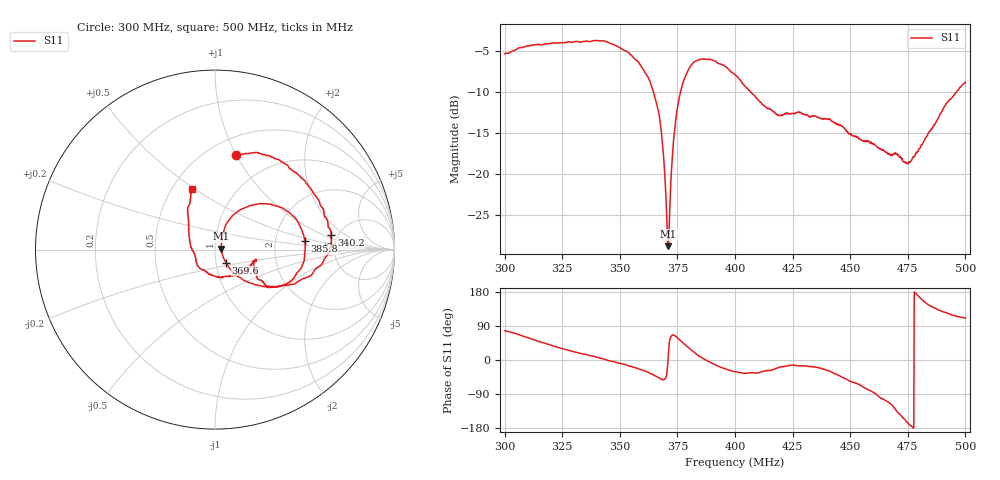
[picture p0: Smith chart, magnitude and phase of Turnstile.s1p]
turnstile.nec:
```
CM Example 1 :	Dipole in free space 	
CM See GetStarted.txt
CM 
CM 
CM 
CM 
CE
GW	1	9	0	-.3462	0	0	.3462	0	.0001	'Wire 1, 9 segments, halve wavelength long.
GW	2	9	-.3462	0	0.001	0.3462	0	0.001	.0001	'Wire 1, 9 segments, halve wavelength long.
GW	3	9	0	-.3462	0.1732	0	.3462	0.1732	.0001	'Wire 1, 9 segments, halve wavelength long.
GW	4	9	-.3462	0	0.1742	0.3462	0	0.1742	.0001	'Wire 1, 9 segments, halve wavelength long.
GW	5	9	0	-.3462	-0.1732	0	.3462	-0.1732	.0001	'Wire 1, 9 segments, halve wavelength long.
GW	6	9	-.3462	0	-0.1742	0.3462	0	-0.1742	.0001	'Wire 1, 9 segments, halve wavelength long.
GE	0
GN	-1
EK
EX	0	1	5	0	1	0	0	'Voltage source (1+j0) at wire 1 segment 5.
EX	0	2	5	0	6.12e-17	1	0
EX	0	3	5	0	0	0	0	'Voltage source (1+j0) at wire 1 segment 5.
EX	0	4	5	0	6.12e-17	0	0
EX	0	5	5	0	0	0	0
EX	0	6	5	0	0	0	0	'Voltage source (1+j0) at wire 1 segment 5.





FR	0	0	0	0	433	0
EN
```
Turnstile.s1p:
!Keysight Technologies N9913A: A.08.18
!Date: Friday, 21 April 2023 12:03:47
!TimeZone: (GMT-06:00) Guadalajara, Mexico City, Monterrey!Model: N9913A
!Serial: MY53104603
!GPS Latitude:
!GPS Longitude:
!GPS TimeStamp: 0001-01-01 00:00:00Z
!GPS Seconds Since Last Read: 0
!CHECKSUM:0762961336
!Correction: S11(ON U*)
!S1P File: Measurement: S11:
# Hz S DB R 50
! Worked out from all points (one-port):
!   1001 points, 300 MHz to 500 MHz, reference 50 ohm
!   lowest |S11| = -28.8 dB at 371 MHz (marker M1), VSWR 1.08, Z = 53.7 + j0.477 ohm
!   |S11| at or under -10 dB: 364.6 MHz to 376.3 MHz (11.74 MHz wide, 3.17 % of centre); 406.9 MHz to 496.1 MHz (89.16 MHz wide, 19.7 % of centre)
!   S11 on the Smith chart (normalised r, x): 300 MHz: 0.67, +1.00; 340.2 MHz: 4.38, +1.26; 369.6 MHz: 1.12, -0.16; 385.8 MHz: 2.96, +0.37; 500 MHz: 0.62, +0.49
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3e8  -5.33 77.3
3.402e8  -3.71 7.2
3.58e8  -6.28 -22.9
3.668e8  -12.42 -46.4
3.696e8  -20.49 -49.8
3.71e8  -28.82 7.0
3.736e8  -15.12 65.1
3.76e8  -10.43 52.6
3.858e8  -6.00 5.4
3.992e8  -7.70 -30.0
4.334e8  -12.89 -17.9
4.586e8  -16.23 -80.8
4.752e8  -18.69 -167.6
5e8  -8.80 110.8
